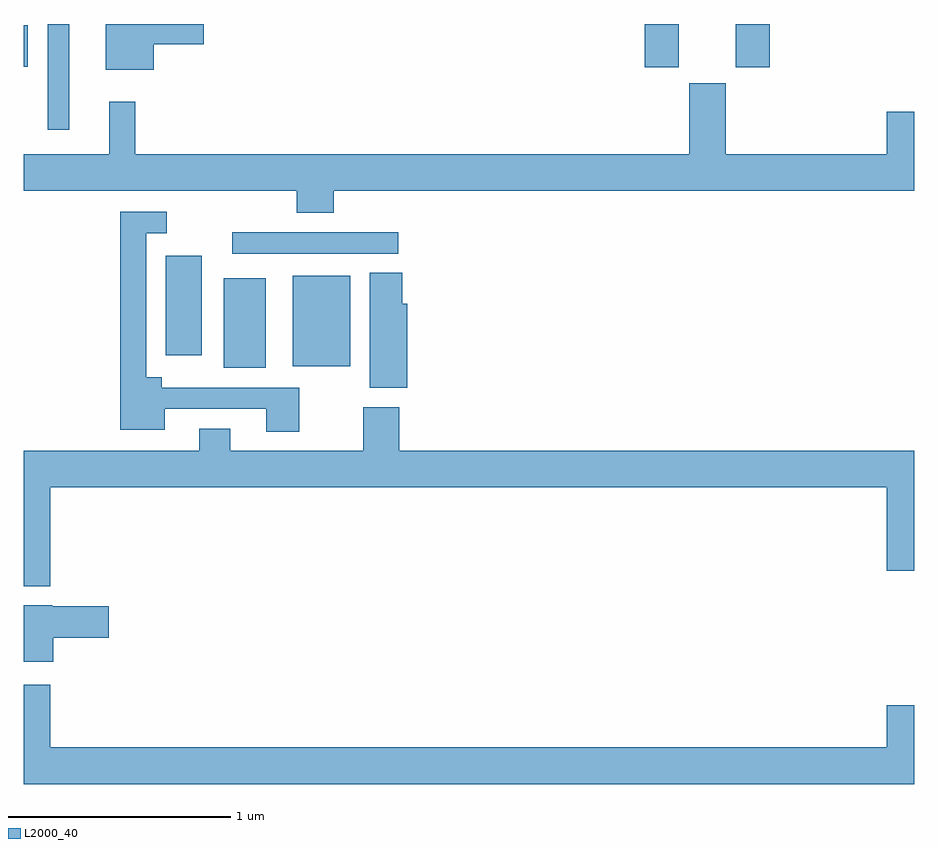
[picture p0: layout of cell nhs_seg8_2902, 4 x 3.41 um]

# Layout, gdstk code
import gdstk
lib = gdstk.Library(unit=1e-6, precision=1e-09)
def R(c, l, rs):  # rectangles x0, y0, x1, y1
    for r in rs: c.add(gdstk.rectangle(r[:2], r[2:], *l))
def P(c, l, *ps):  # polygons
    for p in ps: c.add(gdstk.Polygon(p, *l))
L2000_40 = (2000, 40)

nhs_seg8_2902 = lib.new_cell('nhs_seg8_2902')
R(nhs_seg8_2902, L2000_40, [(293.9,1130.357,294.088,1130.758), (294.209,1130.363,294.466,1130.77), (293.639,1130.412,293.8,1130.86), (293.937,1130.868,294.682,1130.964), (293.109,1131.426,293.206,1131.9), (295.79,1131.705,295.942,1131.9), (296.198,1131.705,296.351,1131.9), (293,1131.707,293.02,1131.895)])
P(nhs_seg8_2902, L2000_40, [(293.584,1131.809),(293.809,1131.809),(293.809,1131.9),(293.369,1131.9),(293.369,1131.695),(293.584,1131.695)],
  [(294.392,1131.152),(297,1131.152),(297,1131.505),(296.876,1131.505),(296.876,1131.316),(296.152,1131.316),(296.152,1131.633),(295.988,1131.633),(295.988,1131.316),(293.501,1131.316),(293.501,1131.55),(293.384,1131.55),(293.384,1131.316),(293,1131.316),(293,1131.152),(294.227,1131.152),(294.227,1131.053),(294.392,1131.053)],
  [(294.237,1130.268),(293.62,1130.268),(293.62,1130.314),(293.55,1130.314),(293.55,1130.961),(293.644,1130.961),(293.644,1131.057),(293.434,1131.057),(293.434,1130.078),(293.635,1130.078),(293.635,1130.172),(294.089,1130.172),(294.089,1130.07),(294.237,1130.07)],
  [(294.722,1130.643),(294.701,1130.643),(294.701,1130.783),(294.554,1130.783),(294.554,1130.267),(294.722,1130.267)],
  [(293.119,1129.82),(296.876,1129.82),(296.876,1129.446),(297,1129.446),(297,1129.984),(294.686,1129.984),(294.686,1130.179),(294.526,1130.179),(294.526,1129.984),(293.929,1129.984),(293.929,1130.083),(293.789,1130.083),(293.789,1129.984),(293,1129.984),(293,1129.376),(293.119,1129.376)],
  [(293.134,1129.144),(293.383,1129.144),(293.383,1129.286),(293.13,1129.286),(293.13,1129.291),(293,1129.291),(293,1129.037),(293.134,1129.037)],
  [(297,1128.841),(296.876,1128.841),(296.876,1128.652),(293.119,1128.652),(293.119,1128.934),(293,1128.934),(293,1128.488),(297,1128.488)])

lib.write_gds('nhs_seg8_2902.gds')
